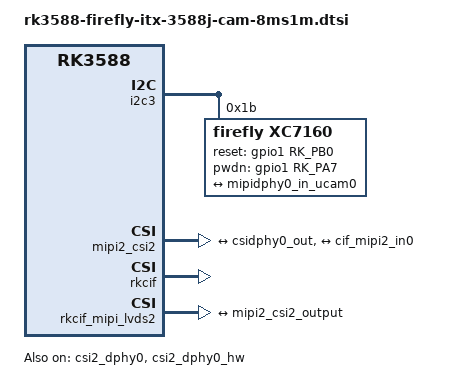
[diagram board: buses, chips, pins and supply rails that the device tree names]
// SPDX-License-Identifier: (GPL-2.0+ OR MIT)
/*
 * Copyright (c) 2021 Rockchip Electronics Co., Ltd.
 *
 */

&i2c3 {
	status = "okay";
	
	XC7160: XC7160@1b{
		compatible = "firefly,xc7160";
		reg = <0x1b>;
		clocks = <&cru CLK_MIPI_CAMARAOUT_M3>;
		clock-names = "xvclk";
		pinctrl-names = "default";
		pinctrl-0 = <&mipim0_camera3_clk>;
		power-domains = <&power RK3588_PD_VI>;

		reset-gpios = <&gpio1 RK_PB0 GPIO_ACTIVE_HIGH>;
		pwdn-gpios = <&gpio1 RK_PA7 GPIO_ACTIVE_HIGH>;

		firefly,clkout-enabled-index = <0>;
		rockchip,camera-module-index = <0>;
		rockchip,camera-module-facing = "back";
		rockchip,camera-module-name = "NC";
		rockchip,camera-module-lens-name = "NC";
		port {
			xc7160_out: endpoint {
				remote-endpoint = <&mipidphy0_in_ucam0>;
				data-lanes = <1 2 3 4>;
			};
		};
	};

};

&csi2_dphy0 {
	status = "okay";
	ports {
		#address-cells = <1>;
		#size-cells = <0>;
		port@0 {
			reg = <0>;
			#address-cells = <1>;
			#size-cells = <0>;

			mipidphy0_in_ucam0: endpoint@0 {
				reg = <0>;
				remote-endpoint = <&xc7160_out>;
				data-lanes = <1 2 3 4>;
			};
		};
		port@1 {
			reg = <1>;
			#address-cells = <1>;
			#size-cells = <0>;

			csidphy0_out: endpoint@0 {
				reg = <0>;
				remote-endpoint = <&mipi2_csi2_input>;
			};
		};
	};
};

&csi2_dphy0_hw {
	status = "okay";
};

&mipi2_csi2 {
	status = "okay";
	ports {
		#address-cells = <1>;
		#size-cells = <0>;

		port@0 {
			reg = <0>;
			#address-cells = <1>;
			#size-cells = <0>;

			mipi2_csi2_input0: endpoint@0 {
				reg = <0>;
				remote-endpoint = <&csidphy0_out>;
			};
		};

		port@1 {
			reg = <1>;
			#address-cells = <1>;
			#size-cells = <0>;

			mipi2_csi2_output: endpoint@0 {
				reg = <0>;
				remote-endpoint = <&cif_mipi2_in0>;
			};
		};
	};
};

&pinctrl {
	cam {
		mipidphy0_pwr: mipidphy0-pwr {
			rockchip,pins =
				/* camera power en */
				<1 RK_PB1 RK_FUNC_GPIO &pcfg_pull_none>;
		};
	};
};

&rkcif {
	status = "okay";
};

&rkcif_mipi_lvds2 {
	status = "okay";
	firefly,yuv_camera;

	port {
		cif_mipi2_in0: endpoint {
			remote-endpoint = <&mipi2_csi2_output>;
		};
	};
};

&rkcif_mmu {
	status = "okay";
};
